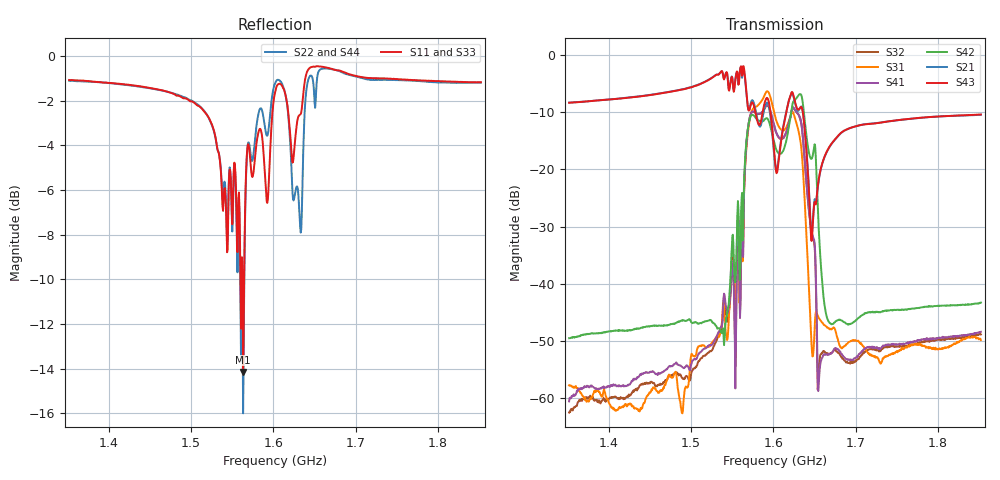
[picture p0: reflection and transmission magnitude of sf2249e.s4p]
# Hz S RI R 50
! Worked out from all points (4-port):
!   801 points, 1.352 GHz to 1.852 GHz, reference 50 ohm
!   strongest paths, dB at 1.352 GHz, 1.477 GHz, 1.602 GHz, 1.727 GHz, 1.852 GHz:
!     S43: -8.3, -6.4, -18.7, -11.9, -10.4
!     S21: -8.3, -6.3, -18.9, -11.9, -10.4
!     S42: -49.6, -47.1, -15.8, -45.0, -43.3
!     S41: -60.6, -54.5, -12.8, -51.3, -48.4
!     S31: -57.8, -56.5, -10.6, -53.1, -49.9
!     S32: -62.6, -56.0, -12.9, -51.7, -48.9
!   lowest |S11| = -14.2 dB at 1.563 GHz (marker M1), VSWR 1.49, Z = 61.8 - j18.8 ohm
!   |S11| at or under -10 dB: 1.560024 GHz to 1.561764 GHz (1.74 MHz wide, 0.111 % of centre); 1.562346 GHz to 1.56452 GHz (2.174 MHz wide, 0.139 % of centre)
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1.352e9  0.4643 -0.7526  0.3304 0.1952  0.000216 0.00121  -0.00081 -0.000531
         0.3307 0.1954  0.469 -0.7456  -0.0006 -0.000398  -0.00297 -0.0015
         0.000244 0.00126  -0.000634 -0.000388  0.4659 -0.7591  0.3247 0.2039
         -0.000788 -0.000498  -0.00299 -0.00146  0.3244 0.2036  0.5096 -0.722
1.488875e9  0.2734 -0.7606  0.4771 0.1556  -0.000755 0.000202  -0.00146 -0.00119
            0.477 0.1556  0.2785 -0.7629  -0.00108 -0.00114  -0.00452 -0.00154
            -0.000715 0.000193  -0.00104 -0.00109  0.2744 -0.7678  0.4689 0.1744
            -0.00146 -0.00117  -0.00448 -0.0015  0.4688 0.1737  0.3368 -0.745
1.56325e9  0.1303 -0.1464  0.6034 -0.505  -0.0213 -0.00111  0.0164 -0.00529
           0.6036 -0.5053  0.1087 -0.1152  0.017 -0.00564  -0.0267 0.00373
           -0.0213 -0.00147  0.0169 -0.00527  0.0824 -0.178  0.6655 -0.4439
           0.0164 -0.00478  -0.0267 0.00327  0.6659 -0.4442  0.0863 -0.1515
1.625125e9  0.4602 -0.4002  0.3316 -0.2505  0.0795 -0.2876  -0.046 0.3404
            0.3316 -0.251  0.2487 -0.4087  -0.0309 0.3377  -0.0387 -0.3971
            0.0793 -0.2881  -0.0299 0.3378  0.4617 -0.3979  0.3454 -0.2435
            -0.0462 0.3404  -0.0391 -0.3969  0.3461 -0.2435  0.2786 -0.3776
1.647e9  0.6617 -0.6764  0.0255 -0.00979  -0.00244 0.000858  -0.0194 -0.0196
         0.0256 -0.00979  0.6527 -0.618  -0.0199 -0.0179  0.0929 0.085
         -0.00236 0.000842  -0.0198 -0.0178  0.6676 -0.6785  0.0248 -0.00674
         -0.0194 -0.0196  0.0929 0.0848  0.0248 -0.0068  0.7112 -0.5598
1.668875e9  0.5491 -0.7613  0.1324 0.09  -0.00402 -0.000605  -0.0024 -0.000625
            0.1323 0.0899  0.5843 -0.7315  -0.00237 -0.000657  -0.00408 -0.00192
            -0.00394 -0.000548  -0.00235 -0.000612  0.5531 -0.7642  0.1283 0.0971
            -0.00235 -0.000568  -0.00409 -0.0019  0.1284 0.097  0.6512 -0.6781
1.852e9  0.3384 -0.806  0.2881 0.0858  -0.00247 0.00215  -0.00376 -0.000735
         0.2883 0.0859  0.3382 -0.8038  -0.00358 -0.000884  -0.00664 -0.00163
         -0.00238 0.00216  -0.00349 -0.000831  0.3452 -0.8099  0.2834 0.105
         -0.00372 -0.000726  -0.00662 -0.00162  0.2835 0.1053  0.4306 -0.7648
